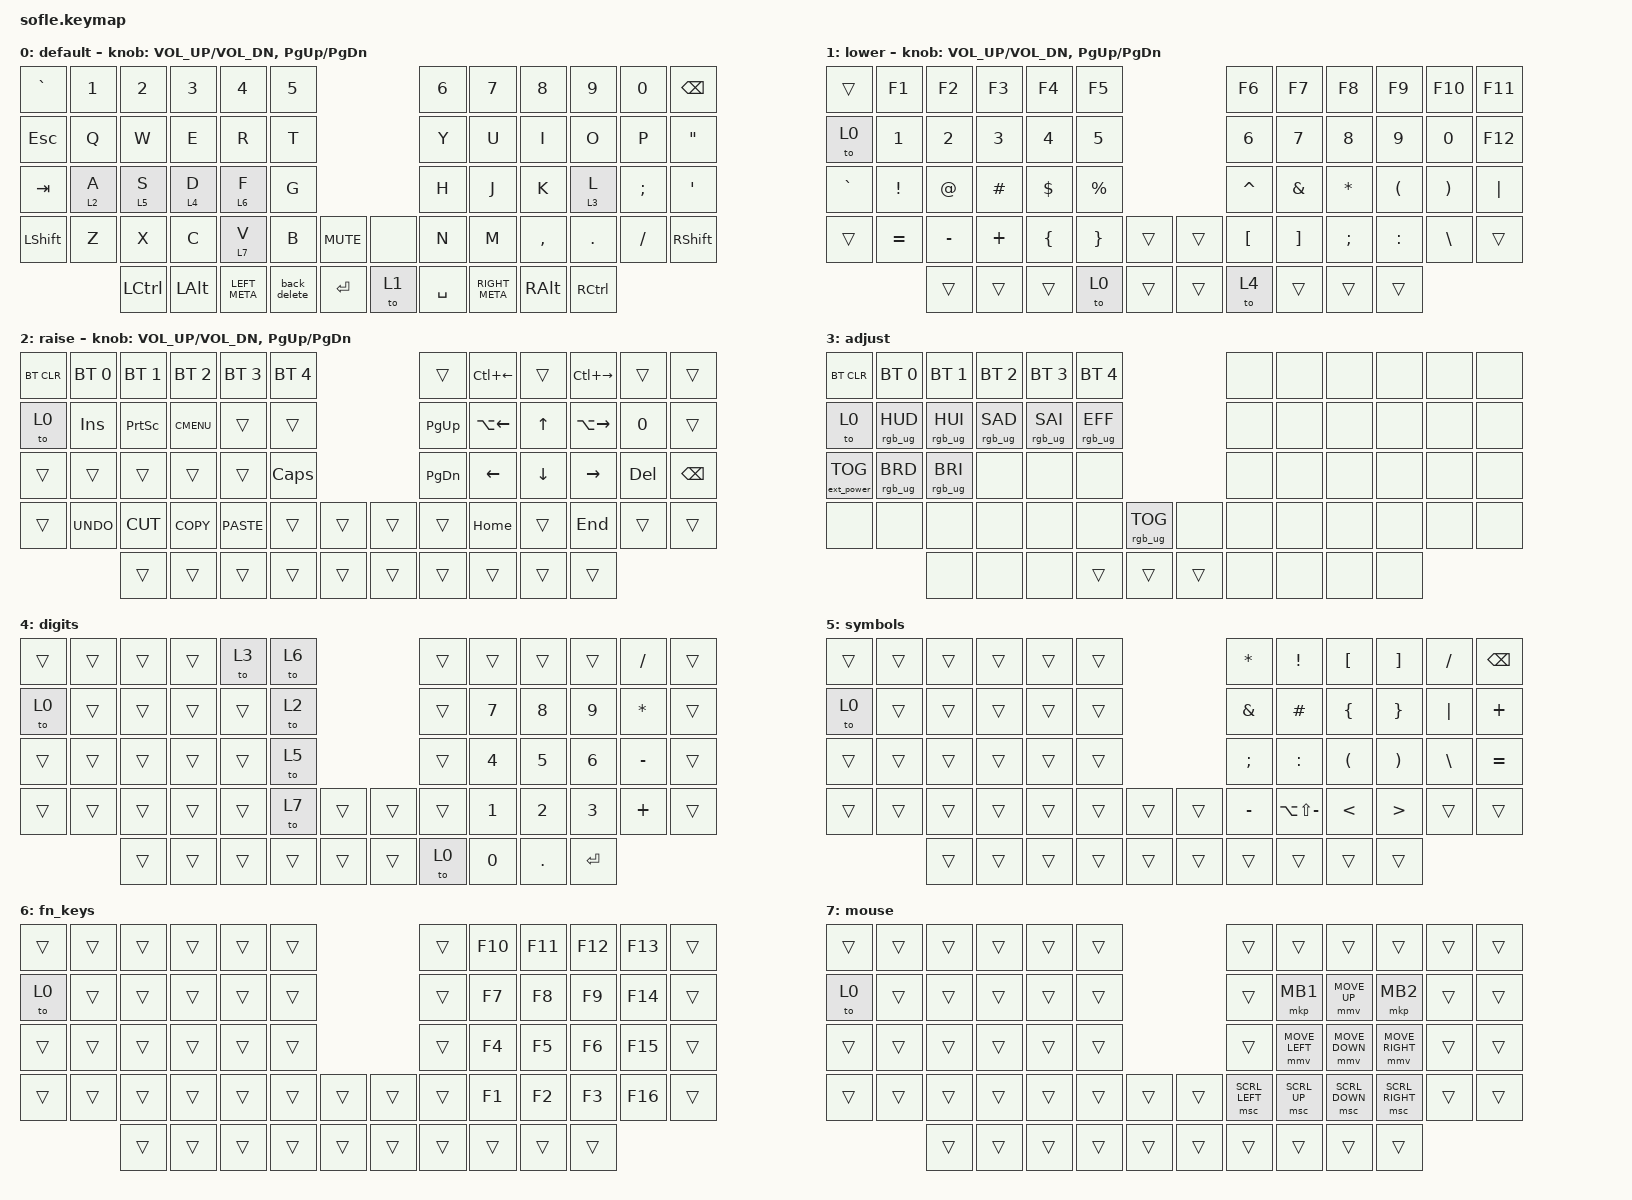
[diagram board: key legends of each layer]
/*
 * Copyright (c) 2020 The ZMK Contributors
 *
 * SPDX-License-Identifier: MIT
 */

#include <behaviors.dtsi>
#include <dt-bindings/zmk/bt.h>
#include <dt-bindings/zmk/ext_power.h>
#include <dt-bindings/zmk/keys.h>
#include <dt-bindings/zmk/pointing.h>
#include <dt-bindings/zmk/pointing.h>
#include <dt-bindings/zmk/pointing.h>
#include <dt-bindings/zmk/rgb.h>

#define BASE 0
#define LOWER 1
#define RAISE 2
#define ADJUST 3

&mmv {
};

&msc {
};

/ {
    // Activate ADJUST layer by pressing raise and lower

    conditional_layers {
        compatible = "zmk,conditional-layers";

        adjust_layer {
            if-layers = <1 2>;
            then-layer = <3>;
        };
    };

    behaviors {
        ht: ht {
            compatible = "zmk,behavior-hold-tap";
            label = "HT";
            #binding-cells = <2>;
            tapping-term-ms = <180>;
            bindings = <&mo>, <&kp>;

            hold-trigger-key-positions = <25>;
        };

        back_delete: back_delete {
            compatible = "zmk,behavior-mod-morph";
            label = "BACK_DELETE";
            bindings = <&kp BACKSPACE>, <&kp DELETE>;

            #binding-cells = <0>;
            mods = <(MOD_LSFT)>;
        };
    };

    macros {
        ctrl_plus_left: ctrl_plus_left {
            compatible = "zmk,behavior-macro";
            #binding-cells = <0>;
            bindings = <&macro_press>, <&kp LC(LEFT)>;

            label = "CTRL_PLUS_LEFT";
        };

        ctrl_plus_right: ctrl_plus_right {
            compatible = "zmk,behavior-macro";
            #binding-cells = <0>;
            bindings = <&macro_press>, <&kp LC(RIGHT)>;

            label = "CTRL_PLUS_RIGHT";
        };
    };

    keymap {
        compatible = "zmk,keymap";

        default_layer {
            display-name = "default";

            // ------------------------------------------------------------------------------------------------------------
            // |   `   |  1  |  2  |  3   |  4   |  5   |                   |  6   |  7    |  8    |  9   |   0   |       |
            // |  ESC  |  Q  |  W  |  E   |  R   |  T   |                   |  Y   |  U    |  I    |  O   |   P   | BKSPC |
            // |  TAB  |  A  |  S  |  D   |  F   |  G   |                   |  H   |  J    |  K    |  L   |   ;   |   '   |
            // | SHIFT |  Z  |  X  |  C   |  V   |  B   |  MUTE  |  |       |  N   |  M    |  ,    |  .   |   /   | SHIFT |
            //               | GUI | ALT  | CTRL | LOWER|  ENTER |  | SPACE | RAISE| CTRL  | ALT   | GUI  |

            bindings = <
&kp GRAVE  &kp N1   &kp N2            &kp N3    &kp N4         &kp N5                             &kp N6     &kp N7          &kp N8     &kp N9             &kp N0    &kp BACKSPACE
&kp ESC    &kp Q    &kp W             &kp E     &kp R          &kp T                              &kp Y      &kp U           &kp I      &kp O              &kp P     &kp DOUBLE_QUOTES
&kp TAB    &ht 2 A  &ht 5 S           &ht 4 D   &ht 6 F        &kp G                              &kp H      &kp J           &kp K      &ht 3 L            &kp SEMI  &kp SQT
&kp LSHFT  &kp Z    &kp X             &kp C     &ht 7 V        &kp B         &kp C_MUTE    &none  &kp N      &kp M           &kp COMMA  &kp DOT            &kp FSLH  &kp RSHFT
                    &kp LEFT_CONTROL  &kp LALT  &kp LEFT_META  &back_delete  &kp RET       &to 1  &kp SPACE  &kp RIGHT_META  &kp RALT   &kp RIGHT_CONTROL
            >;

            sensor-bindings = <&inc_dec_kp C_VOL_UP C_VOL_DN &inc_dec_kp PG_UP PG_DN>;
        };

        lower_layer {
            display-name = "lower";

            // TODO: Some binds are waiting for shifted keycode support.
            // ------------------------------------------------------------------------------------------------------------
            // |       |  F1 |  F2 |  F3  |  F4  |  F5  |                   |  F6  |  F7   |  F8   |  F9  |  F10  |  F11  |
            // |   `   |  1  |  2  |  3   |  4   |  5   |                   |  6   |  7    |  8    |  9   |   0   |  F12  |
            // |       |  !  |  @  |  #   |  $   |  %   |                   |  ^   |  &    |  *    |  (   |   )   |   |   |
            // |       |  =  |  -  |  +   |  {   |  }   |        |  |       |  [   |  ]    |  ;    |  :   |   \   |       |
            //               |     |      |      |      |        |  |       |      |       |       |      |

            bindings = <
&trans     &kp F1     &kp F2     &kp F3    &kp F4    &kp F5                       &kp F6     &kp F7    &kp F8     &kp F9     &kp F10   &kp F11
&to 0      &kp N1     &kp N2     &kp N3    &kp N4    &kp N5                       &kp N6     &kp N7    &kp N8     &kp N9     &kp N0    &kp F12
&kp GRAVE  &kp EXCL   &kp AT     &kp HASH  &kp DLLR  &kp PRCNT                    &kp CARET  &kp AMPS  &kp ASTRK  &kp LPAR   &kp RPAR  &kp PIPE
&trans     &kp EQUAL  &kp MINUS  &kp PLUS  &kp LBRC  &kp RBRC   &trans    &trans  &kp LBKT   &kp RBKT  &kp SEMI   &kp COLON  &kp BSLH  &trans
                      &trans     &trans    &trans    &to 0      &trans    &trans  &to 4      &trans    &trans     &trans
            >;

            sensor-bindings = <&inc_dec_kp C_VOL_UP C_VOL_DN &inc_dec_kp PG_UP PG_DN>;
        };

        arrows-nav {
            display-name = "raise";

            // ------------------------------------------------------------------------------------------------------------
            // | BTCLR | BT1  | BT2  |  BT3  |  BT4  |  BT5 |                |      |      |       |      |       |       |
            // |       | INS  | PSCR | GUI   |       |      |                | PGUP |      |   ^   |      |       |       |
            // |       | ALT  | CTRL | SHIFT |       | CAPS |                | PGDN |   <- |   v   |  ->  |  DEL  | BKSPC |
            // |       | UNDO | CUT  | COPY  | PASTE |      |      |  |      |      |      |       |      |       |       |
            //                |      |       |       |      |      |  |      |      |      |       |      |

            bindings = <
&bt BT_CLR  &bt BT_SEL 0  &bt BT_SEL 1  &bt BT_SEL 2  &bt BT_SEL 3  &bt BT_SEL 4                    &trans     &kp LC(LEFT)        &trans    &kp LC(RIGHT)  &trans   &trans
&to 0       &kp INS       &kp PSCRN     &kp K_CMENU   &trans        &trans                          &kp PG_UP  &kp LA(LEFT_ARROW)  &kp UP    &kp LA(RIGHT)  &kp N0   &trans
&trans      &trans        &trans        &trans        &trans        &kp CLCK                        &kp PG_DN  &kp LEFT            &kp DOWN  &kp RIGHT      &kp DEL  &kp BSPC
&trans      &kp K_UNDO    &kp K_CUT     &kp K_COPY    &kp K_PASTE   &trans        &trans    &trans  &trans     &kp HOME            &trans    &kp END        &trans   &trans
                          &trans        &trans        &trans        &trans        &trans    &trans  &trans     &trans              &trans    &trans
            >;

            sensor-bindings = <&inc_dec_kp C_VOL_UP C_VOL_DN &inc_dec_kp PG_UP PG_DN>;
        };

        adjust_layer {
            // ----------------------------------------------------------------------------------------------------------------------------
            // | BTCLR  |  BT1    |  BT2    |   BT3   |   BT4   |   BT5   |                  |      |      |       |      |       |       |
            // | EXTPWR | RGB_HUD | RGB_HUI | RGB_SAD | RGB_SAI | RGB_EFF |                  |      |      |       |      |       |       |
            // |        | RGB_BRD | RGB_BRI |         |         |         |                  |      |      |       |      |       |       |
            // |        |         |         |         |         |         | RGB_TOG | |      |      |      |       |      |       |       |
            //                    |         |         |         |         |         | |      |      |      |       |      |

            display-name = "adjust";
            bindings = <
&bt BT_CLR         &bt BT_SEL 0     &bt BT_SEL 1     &bt BT_SEL 2     &bt BT_SEL 3     &bt BT_SEL 4                                &none  &none  &none  &none  &none  &none
&to 0              &rgb_ug RGB_HUD  &rgb_ug RGB_HUI  &rgb_ug RGB_SAD  &rgb_ug RGB_SAI  &rgb_ug RGB_EFF                             &none  &none  &none  &none  &none  &none
&ext_power EP_TOG  &rgb_ug RGB_BRD  &rgb_ug RGB_BRI  &none            &none            &none                                       &none  &none  &none  &none  &none  &none
&none              &none            &none            &none            &none            &none            &rgb_ug RGB_TOG    &none   &none  &none  &none  &none  &none  &none
                                    &none            &none            &none            &trans           &trans             &trans  &none  &none  &none  &none
            >;
        };

        digits {
            bindings = <
&trans  &trans  &trans  &trans  &to 3   &to 6                     &trans  &trans  &trans      &trans     &kp SLASH     &trans
&to 0   &trans  &trans  &trans  &trans  &to 2                     &trans  &kp N7  &kp N8      &kp N9     &kp ASTERISK  &trans
&trans  &trans  &trans  &trans  &trans  &to 5                     &trans  &kp N4  &kp N5      &kp N6     &kp MINUS     &trans
&trans  &trans  &trans  &trans  &trans  &to 7   &trans    &trans  &trans  &kp N1  &kp N2      &kp N3     &kp PLUS      &trans
                &trans  &trans  &trans  &trans  &trans    &trans  &to 0   &kp N0  &kp PERIOD  &kp ENTER
            >;
        };

        symbols {
            bindings = <
&trans  &trans  &trans  &trans  &trans  &trans                    &kp ASTERISK   &kp EXCLAMATION    &kp LEFT_BRACKET      &kp RIGHT_BRACKET      &kp FSLH  &kp BACKSPACE
&to 0   &trans  &trans  &trans  &trans  &trans                    &kp AMPERSAND  &kp HASH           &kp LEFT_BRACE        &kp RIGHT_BRACE        &kp PIPE  &kp PLUS
&trans  &trans  &trans  &trans  &trans  &trans                    &kp SEMICOLON  &kp COLON          &kp LEFT_PARENTHESIS  &kp RIGHT_PARENTHESIS  &kp BSLH  &kp EQUAL
&trans  &trans  &trans  &trans  &trans  &trans  &trans    &trans  &kp MINUS      &kp LA(LS(MINUS))  &kp LESS_THAN         &kp GREATER_THAN       &trans    &trans
                &trans  &trans  &trans  &trans  &trans    &trans  &trans         &trans             &trans                &trans
            >;
        };

        fn_keys {
            bindings = <
&trans  &trans  &trans  &trans  &trans  &trans                    &trans  &kp F10  &kp F11  &kp F12  &kp F13  &trans
&to 0   &trans  &trans  &trans  &trans  &trans                    &trans  &kp F7   &kp F8   &kp F9   &kp F14  &trans
&trans  &trans  &trans  &trans  &trans  &trans                    &trans  &kp F4   &kp F5   &kp F6   &kp F15  &trans
&trans  &trans  &trans  &trans  &trans  &trans  &trans    &trans  &trans  &kp F1   &kp F2   &kp F3   &kp F16  &trans
                &trans  &trans  &trans  &trans  &trans    &trans  &trans  &trans   &trans   &trans
            >;
        };

        mouse {
            bindings = <
&trans  &trans  &trans  &trans  &trans  &trans                    &trans          &trans          &trans          &trans           &trans  &trans
&to 0   &trans  &trans  &trans  &trans  &trans                    &trans          &mkp MB1        &mmv MOVE_UP    &mkp MB2         &trans  &trans
&trans  &trans  &trans  &trans  &trans  &trans                    &trans          &mmv MOVE_LEFT  &mmv MOVE_DOWN  &mmv MOVE_RIGHT  &trans  &trans
&trans  &trans  &trans  &trans  &trans  &trans  &trans    &trans  &msc SCRL_LEFT  &msc SCRL_UP    &msc SCRL_DOWN  &msc SCRL_RIGHT  &trans  &trans
                &trans  &trans  &trans  &trans  &trans    &trans  &trans          &trans          &trans          &trans
            >;
        };
    };
};
